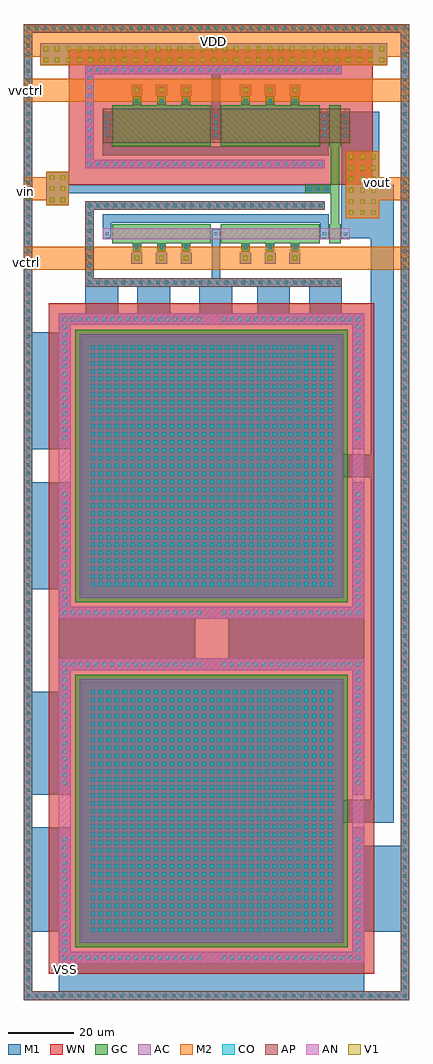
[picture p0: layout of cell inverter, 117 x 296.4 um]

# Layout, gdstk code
from math import pi, radians
import gdstk
lib = gdstk.Library(unit=1e-6, precision=1e-07)
def R(c, l, rs):  # rectangles x0, y0, x1, y1
    for r in rs: c.add(gdstk.rectangle(r[:2], r[2:], *l))
def A(c, l, x, y, w, h, nx, ny, dx, dy):  # array of equal rectangles
    R(c, l, [(x+i*dx, y+j*dy, x+i*dx+w, y+j*dy+h) for i in range(nx) for j in range(ny)])
def P(c, l, *ps):  # polygons
    for p in ps: c.add(gdstk.Polygon(p, *l))
AP = (3, 1)
AN = (3, 2)
AC = (3, 4)
GC = (8, 1)
CO = (11, 0)
M1 = (13, 0)
V1 = (19, 0)
M2 = (20, 0)
WN = (140, 0)

moscap = lib.new_cell('moscap')
P(moscap, AN, [(-46.4,-46.4),(-46.4,42.8),(-42.8,42.8),(-42.8,-42.8),(42.8,-42.8),(42.8,42.8),(-46.4,42.8),(-46.4,46.4),(46.4,46.4),(46.4,-46.4)])
R(moscap, AC, [(-40,-40,40,40)])
R(moscap, GC, [(-41.4,-41.4,41.4,41.4)])
A(moscap, CO, -45.2, -45.2, 1.2, 1.2, 1, 18, 0, 2.4)
A(moscap, CO, -45.2, -45.2, 1.2, 1.2, 16, 2, 2.4, 89.2)
A(moscap, CO, 8, -45.2, 1.2, 1.2, 16, 2, 2.4, 89.2)
A(moscap, CO, 44, -45.2, 1.2, 1.2, 1, 18, 0, 2.4)
A(moscap, CO, -36.6, -36.6, 1.2, 1.2, 31, 31, 2.4, 2.4)
A(moscap, CO, -45.2, 3.2, 1.2, 1.2, 1, 18, 0, 2.4)
A(moscap, CO, 44, 3.2, 1.2, 1.2, 1, 18, 0, 2.4)
R(moscap, M1, [(-39.3,-39.3,39.3,39.3)])
P(moscap, M1, [(-46.4,-46.4),(-46.4,46.4),(-5,46.4),(-5,42.8),(-42.8,42.8),(-42.8,-42.8),(-5,-42.8),(-5,-46.4)],
  [(5,-46.4),(5,-42.8),(42.8,-42.8),(42.8,42.8),(5,42.8),(5,46.4),(46.4,46.4),(46.4,-46.4)])
R(moscap, WN, [(-49.4,-49.4,49.4,49.4)])

fet_n_3 = lib.new_cell('fet_n$3')
R(fet_n_3, AN, [(-34.3,-1.7,34.3,1.7)])
A(fet_n_3, CO, -33.5, -0.5, 1, 1, 3, 1, 33, 0)
A(fet_n_3, M1, -34.3, -1.3, 2.6, 2.6, 3, 1, 33, 0)
fet_n_3.add(gdstk.FlexPath([(16.5,-2.9),(16.5,2.9)], 30, ends="flush", simple_path=True, layer=8, datatype=1))  # GC
fet_n_3.add(gdstk.FlexPath([(-16.5,-2.9),(-16.5,2.9)], 30, ends="flush", simple_path=True, layer=8, datatype=1))  # GC

fet_p_2 = lib.new_cell('fet_p$2')
R(fet_p_2, AP, [(-34.3,-5.1,34.3,5.1)])
A(fet_p_2, CO, -33.5, -3.5, 1, 1, 3, 4, 33, 2)
A(fet_p_2, M1, -34.3, -4.3, 2.6, 8.6, 3, 1, 33, 0)
fet_p_2.add(gdstk.FlexPath([(16.5,-6.3),(16.5,6.3)], 30, ends="flush", simple_path=True, layer=8, datatype=1))  # GC
fet_p_2.add(gdstk.FlexPath([(-16.5,-6.3),(-16.5,6.3)], 30, ends="flush", simple_path=True, layer=8, datatype=1))  # GC

cont_n = lib.new_cell('cont_n')
R(cont_n, AN, [(-1.3,-1.3,1.3,1.3)])
R(cont_n, CO, [(-0.5,-0.5,0.5,0.5)])
R(cont_n, M1, [(-1.3,-1.3,1.3,1.3)])

cont_p = lib.new_cell('cont_p')
R(cont_p, AP, [(-1.3,-1.3,1.3,1.3)])
R(cont_p, CO, [(-0.5,-0.5,0.5,0.5)])
R(cont_p, M1, [(-1.3,-1.3,1.3,1.3)])

via_1 = lib.new_cell('via_1')
R(via_1, M1, [(-1.7,-1.7,1.7,1.7)])
R(via_1, V1, [(-0.7,-0.7,0.7,0.7)])
R(via_1, M2, [(-1.7,-1.7,1.7,1.7)])

cont_g = lib.new_cell('cont_g')
R(cont_g, GC, [(-1.3,-1.3,1.3,1.3)])
R(cont_g, CO, [(-0.5,-0.5,0.5,0.5)])
R(cont_g, M1, [(-1.3,-1.3,1.3,1.3)])

fet_p = lib.new_cell('fet_p')
R(fet_p, AP, [(-4.5,-5.1,4.5,5.1)])
A(fet_p, CO, -3.7, -3.5, 1, 1, 1, 4, 0, 2)
A(fet_p, CO, 2.7, -3.5, 1, 1, 1, 4, 0, 2)
R(fet_p, M1, [(-4.5,-4.3,-1.9,4.3), (1.9,-4.3,4.5,4.3)])
fet_p.add(gdstk.FlexPath([(0,-6.3),(0,6.3)], 3.4, ends="flush", simple_path=True, layer=8, datatype=1))  # GC

fet_n = lib.new_cell('fet_n')
R(fet_n, AN, [(-4.5,-1.7,4.5,1.7)])
R(fet_n, CO, [(-3.7,-0.5,-2.7,0.5), (2.7,-0.5,3.7,0.5)])
R(fet_n, M1, [(-4.5,-1.3,-1.9,1.3), (1.9,-1.3,4.5,1.3)])
fet_n.add(gdstk.FlexPath([(0,-2.9),(0,2.9)], 3.4, ends="flush", simple_path=True, layer=8, datatype=1))  # GC

inverter = lib.new_cell('inverter')
R(inverter, M1, [(-87.1,-89.2,5.7,-83.8), (-87.1,-83.8,5.7,-80.8), (-95.1,-71,-87.1,-39.4), (5.7,-71,16.7,-45), (-95.1,-29.4,-87.1,1.8), (-87.1,12,-45.7,24), (-35.7,12,5.7,24), (-95.1,33,-87.1,65.4), (-95.1,75.4,-87.1,111)])
R(inverter, WN, [(-90.1,15,8.7,21), (-84.1,155.8,8.3,197)])
inverter.add(gdstk.FlexPath([(-3.2,167.4),(-3.2,143.8)], 2.6, ends="flush", simple_path=True, layer=8, datatype=1))  # GC
inverter.add(gdstk.FlexPath([(-63.4,182.6),(-63.4,182.8)], 2.6, ends="flush", simple_path=True, layer=13, datatype=0))  # M1
inverter.add(gdstk.FlexPath([(-55.9,182.6),(-55.9,182.8)], 2.6, ends="flush", simple_path=True, layer=13, datatype=0))  # M1
inverter.add(gdstk.FlexPath([(-48.4,182.6),(-48.4,182.8)], 2.6, ends="flush", simple_path=True, layer=13, datatype=0))  # M1
inverter.add(gdstk.FlexPath([(-30.4,182.6),(-30.4,182.8)], 2.6, ends="flush", simple_path=True, layer=13, datatype=0))  # M1
inverter.add(gdstk.FlexPath([(-22.9,182.6),(-22.9,182.8)], 2.6, ends="flush", simple_path=True, layer=13, datatype=0))  # M1
inverter.add(gdstk.FlexPath([(-15.4,182.6),(-15.4,182.8)], 2.6, ends="flush", simple_path=True, layer=13, datatype=0))  # M1
inverter.add(gdstk.FlexPath([(-6.4,164.8),(-6.4,169.4)], 2.6, ends="flush", simple_path=True, layer=13, datatype=0))  # M1
inverter.add(gdstk.FlexPath([(-72.4,164.8),(-72.4,169.4)], 2.6, ends="flush", simple_path=True, layer=13, datatype=0))  # M1
inverter.add(gdstk.FlexPath([(-39.4,178),(-39.4,198)], 2.6, ends="flush", simple_path=True, layer=13, datatype=0))  # M1
inverter.add(gdstk.FlexPath([(-88.9,154.5),(-4.5,154.5)], 2.6, ends="flush", simple_path=True, layer=13, datatype=0))  # M1
inverter.add(gdstk.FlexPath([(-72.4,142.2),(-72.4,146.8)], 2.6, ends="flush", simple_path=True, layer=13, datatype=0))  # M1
inverter.add(gdstk.FlexPath([(-6.4,142.2),(-6.4,146.8)], 2.6, ends="flush", simple_path=True, layer=13, datatype=0))  # M1
inverter.add(gdstk.FlexPath([(-72.4,145.5),(-6.4,145.5)], 2.6, ends="flush", simple_path=True, layer=13, datatype=0))  # M1
inverter.add(gdstk.FlexPath([(-72.4,166.1),(-6.4,166.1)], 2.6, ends="flush", simple_path=True, layer=13, datatype=0))  # M1
inverter.add(gdstk.FlexPath([(-39.4,125.2),(-39.4,139.6)], 2.6, ends="flush", simple_path=True, layer=13, datatype=0))  # M1
inverter.add(gdstk.FlexPath([(0,169.4),(0,142.2)], 2.6, ends="flush", simple_path=True, layer=13, datatype=0))  # M1
inverter.add(gdstk.FlexPath([(0,154.5),(8.3,154.5)], 2.6, ends="flush", simple_path=True, layer=13, datatype=0))  # M1
inverter.add(gdstk.FlexPath([(-74.1,125.7),(-74.1,114.5)], 10, ends="flush", simple_path=True, layer=13, datatype=0))  # M1
inverter.add(gdstk.FlexPath([(-6.1,126.4),(-6.1,114.6)], 10, ends="flush", simple_path=True, layer=13, datatype=0))  # M1
inverter.add(gdstk.FlexPath([(-63.4,135.2),(-63.4,135.4)], 2.6, ends="flush", simple_path=True, layer=13, datatype=0))  # M1
inverter.add(gdstk.FlexPath([(-55.9,135.2),(-55.9,135.4)], 2.6, ends="flush", simple_path=True, layer=13, datatype=0))  # M1
inverter.add(gdstk.FlexPath([(-48.4,135.2),(-48.4,135.4)], 2.6, ends="flush", simple_path=True, layer=13, datatype=0))  # M1
inverter.add(gdstk.FlexPath([(-30.4,135.2),(-30.4,135.4)], 2.6, ends="flush", simple_path=True, layer=13, datatype=0))  # M1
inverter.add(gdstk.FlexPath([(-22.9,135.2),(-22.9,135.4)], 2.6, ends="flush", simple_path=True, layer=13, datatype=0))  # M1
inverter.add(gdstk.FlexPath([(-15.4,135.2),(-15.4,135.4)], 2.6, ends="flush", simple_path=True, layer=13, datatype=0))  # M1
inverter.add(gdstk.FlexPath([(-80,70.5),(12.1,70.5)], 7, ends="flush", simple_path=True, layer=13, datatype=0))  # M1
inverter.add(gdstk.FlexPath([(-80,-34.5),(12.9,-34.5)], 7, ends="flush", simple_path=True, layer=13, datatype=0))  # M1
inverter.add(gdstk.FlexPath([(-39.4,125.4),(-39.4,114.8)], 10, ends="flush", simple_path=True, layer=13, datatype=0))  # M1
inverter.add(gdstk.FlexPath([(-58.3,125.2),(-58.3,115.1)], 10, ends="flush", simple_path=True, layer=13, datatype=0))  # M1
inverter.add(gdstk.FlexPath([(-21.9,125),(-21.9,115.2)], 10, ends="flush", simple_path=True, layer=13, datatype=0))  # M1
inverter.add(gdstk.FlexPath([(11.2,-38),(11.2,155.8)], 7, ends="flush", simple_path=True, layer=13, datatype=0))  # M1
inverter.add(gdstk.FlexPath([(5.2,139.6),(5.2,178)], 10, ends="flush", simple_path=True, layer=13, datatype=0))  # M1
inverter.add(gdstk.FlexPath([(19.3,184.5),(-97.7,184.5)], 7, ends="flush", simple_path=True, layer=20, datatype=0))  # M2
inverter.add(gdstk.FlexPath([(-87.5,154.5),(-97.7,154.5)], 7, ends="flush", simple_path=True, layer=20, datatype=0))  # M2
inverter.add(gdstk.FlexPath([(19.3,133.5),(-97.7,133.5)], 7, ends="flush", simple_path=True, layer=20, datatype=0))  # M2
inverter.add(gdstk.FlexPath([(6.9,154.5),(19.3,154.5)], 7, ends="flush", simple_path=True, layer=20, datatype=0))  # M2
inverter.add(gdstk.FlexPath([(-97.7,199.6),(19.3,199.6)], 10, ends="flush", simple_path=True, layer=20, datatype=0))  # M2
inverter.add(gdstk.Reference(moscap, (-40.7,70.4), rotation=pi/2))
inverter.add(gdstk.Reference(fet_n_3, (-39.4,140.9)))
inverter.add(gdstk.Reference(moscap, (-40.7,-34.4), rotation=pi/2))
inverter.add(gdstk.Reference(fet_p_2, (-39.4,173.7)))
inverter.add(gdstk.Reference(cont_n, (-38.8,162.1)))
inverter.add(gdstk.Reference(cont_n, (-38.8,190.7)))
inverter.add(gdstk.Reference(cont_p, (-38.8,149.5)))
inverter.add(gdstk.Reference(cont_p, (-38.8,126.1)))
inverter.add(gdstk.Reference(cont_p, (-39.2,203.3)))
inverter.add(gdstk.Reference(cont_p, (-39.2,-90.5)))
inverter.add(gdstk.Reference(via_1, (-40,193.7)))
inverter.add(gdstk.Reference(via_1, (-40,197.1)))
inverter.add(gdstk.Reference(cont_n, (-10.2,162.1)))
inverter.add(gdstk.Reference(cont_n, (-10.2,190.7)))
inverter.add(gdstk.Reference(cont_p, (-10.2,149.5)))
inverter.add(gdstk.Reference(cont_p, (-10.2,126.1)))
inverter.add(gdstk.Reference(cont_p, (-10.6,203.3)))
inverter.add(gdstk.Reference(cont_p, (18,130.5)))
inverter.add(gdstk.Reference(via_1, (-9.4,193.7)))
inverter.add(gdstk.Reference(via_1, (-9.4,197.1)))
inverter.add(gdstk.Reference(cont_g, (-11,154.5)))
inverter.add(gdstk.Reference(cont_g, (-8.4,154.5)))
inverter.add(gdstk.Reference(fet_p, (-3.2,173.7)))
inverter.add(gdstk.Reference(cont_p, (-7.6,149.5)))
inverter.add(gdstk.Reference(cont_n, (-7.6,162.1)))
inverter.add(gdstk.Reference(via_1, (1.7,157.5)))
inverter.add(gdstk.Reference(via_1, (5.1,157.5)))
inverter.add(gdstk.Reference(via_1, (8.5,157.5)))
inverter.add(gdstk.Reference(via_1, (1.7,160.9)))
inverter.add(gdstk.Reference(via_1, (5.1,160.9)))
inverter.add(gdstk.Reference(via_1, (8.5,160.9)))
inverter.add(gdstk.Reference(via_1, (1.7,164.3)))
inverter.add(gdstk.Reference(via_1, (5.1,164.3)))
inverter.add(gdstk.Reference(via_1, (8.5,164.3)))
inverter.add(gdstk.Reference(via_1, (1.7,147.3)))
inverter.add(gdstk.Reference(via_1, (5.1,147.3)))
inverter.add(gdstk.Reference(via_1, (8.5,147.3)))
inverter.add(gdstk.Reference(via_1, (1.7,150.7)))
inverter.add(gdstk.Reference(via_1, (5.1,150.7)))
inverter.add(gdstk.Reference(via_1, (8.5,150.7)))
inverter.add(gdstk.Reference(via_1, (1.7,154.1)))
inverter.add(gdstk.Reference(via_1, (5.1,154.1)))
inverter.add(gdstk.Reference(via_1, (8.5,154.1)))
inverter.add(gdstk.Reference(cont_g, (-5.8,154.5)))
inverter.add(gdstk.Reference(cont_p, (-8,203.3)))
inverter.add(gdstk.Reference(cont_p, (-5.4,203.3)))
inverter.add(gdstk.Reference(cont_p, (-2.8,203.3)))
inverter.add(gdstk.Reference(cont_p, (-0.2,203.3)))
inverter.add(gdstk.Reference(cont_p, (2.4,203.3)))
inverter.add(gdstk.Reference(cont_p, (5,203.3)))
inverter.add(gdstk.Reference(cont_p, (7.6,203.3)))
inverter.add(gdstk.Reference(cont_p, (10.2,203.3)))
inverter.add(gdstk.Reference(cont_p, (12.8,203.3)))
inverter.add(gdstk.Reference(cont_p, (15.4,203.3)))
inverter.add(gdstk.Reference(cont_p, (18,203.3)))
inverter.add(gdstk.Reference(cont_p, (18,200.7)))
inverter.add(gdstk.Reference(cont_p, (18,198.1)))
inverter.add(gdstk.Reference(cont_p, (18,195.5)))
inverter.add(gdstk.Reference(cont_p, (18,192.9)))
inverter.add(gdstk.Reference(cont_p, (18,190.3)))
inverter.add(gdstk.Reference(cont_p, (18,187.7)))
inverter.add(gdstk.Reference(cont_p, (18,185.1)))
inverter.add(gdstk.Reference(cont_p, (18,182.5)))
inverter.add(gdstk.Reference(cont_p, (18,179.9)))
inverter.add(gdstk.Reference(cont_p, (18,177.3)))
inverter.add(gdstk.Reference(cont_p, (18,174.7)))
inverter.add(gdstk.Reference(cont_p, (18,172.1)))
inverter.add(gdstk.Reference(cont_p, (18,169.5)))
inverter.add(gdstk.Reference(cont_p, (18,166.9)))
inverter.add(gdstk.Reference(cont_p, (18,164.3)))
inverter.add(gdstk.Reference(cont_p, (18,161.7)))
inverter.add(gdstk.Reference(cont_p, (18,159.1)))
inverter.add(gdstk.Reference(cont_p, (18,156.5)))
inverter.add(gdstk.Reference(cont_p, (18,153.9)))
inverter.add(gdstk.Reference(cont_p, (18,151.3)))
inverter.add(gdstk.Reference(cont_p, (18,148.7)))
inverter.add(gdstk.Reference(cont_p, (18,146.1)))
inverter.add(gdstk.Reference(cont_p, (18,143.5)))
inverter.add(gdstk.Reference(cont_p, (18,140.9)))
inverter.add(gdstk.Reference(cont_p, (18,138.3)))
inverter.add(gdstk.Reference(cont_p, (18,135.7)))
inverter.add(gdstk.Reference(cont_p, (18,133.1)))
inverter.add(gdstk.Reference(fet_n, (-3.2,140.9)))
inverter.add(gdstk.Reference(cont_n, (-7.6,190.7)))
inverter.add(gdstk.Reference(via_1, (-6,193.7)))
inverter.add(gdstk.Reference(via_1, (-2.6,193.7)))
inverter.add(gdstk.Reference(via_1, (0.8,193.7)))
inverter.add(gdstk.Reference(via_1, (4.2,193.7)))
inverter.add(gdstk.Reference(via_1, (7.6,193.7)))
inverter.add(gdstk.Reference(via_1, (11,193.7)))
inverter.add(gdstk.Reference(cont_n, (-5,190.7)))
inverter.add(gdstk.Reference(via_1, (-6,197.1)))
inverter.add(gdstk.Reference(via_1, (-2.6,197.1)))
inverter.add(gdstk.Reference(via_1, (0.8,197.1)))
inverter.add(gdstk.Reference(via_1, (4.2,197.1)))
inverter.add(gdstk.Reference(via_1, (7.6,197.1)))
inverter.add(gdstk.Reference(via_1, (11,197.1)))
inverter.add(gdstk.Reference(cont_n, (-2.4,190.7)))
inverter.add(gdstk.Reference(cont_p, (-36.2,149.5)))
inverter.add(gdstk.Reference(cont_p, (-33.6,149.5)))
inverter.add(gdstk.Reference(cont_p, (-31,149.5)))
inverter.add(gdstk.Reference(cont_p, (-28.4,149.5)))
inverter.add(gdstk.Reference(cont_p, (-25.8,149.5)))
inverter.add(gdstk.Reference(cont_p, (-23.2,149.5)))
inverter.add(gdstk.Reference(via_1, (-30.4,184.5)))
inverter.add(gdstk.Reference(cont_p, (-20.6,149.5)))
inverter.add(gdstk.Reference(cont_p, (-18,149.5)))
inverter.add(gdstk.Reference(cont_p, (-15.4,149.5)))
inverter.add(gdstk.Reference(cont_p, (-12.8,149.5)))
inverter.add(gdstk.Reference(cont_n, (-18,162.1)))
inverter.add(gdstk.Reference(cont_n, (-15.4,162.1)))
inverter.add(gdstk.Reference(via_1, (-22.9,184.5)))
inverter.add(gdstk.Reference(cont_n, (-12.8,162.1)))
inverter.add(gdstk.Reference(cont_g, (-15.4,181.3)))
inverter.add(gdstk.Reference(cont_n, (-36.2,162.1)))
inverter.add(gdstk.Reference(cont_n, (-33.6,162.1)))
inverter.add(gdstk.Reference(cont_n, (-36.2,190.7)))
inverter.add(gdstk.Reference(cont_n, (-33.6,190.7)))
inverter.add(gdstk.Reference(cont_n, (-31,190.7)))
inverter.add(gdstk.Reference(cont_n, (-28.4,190.7)))
inverter.add(gdstk.Reference(cont_n, (-25.8,190.7)))
inverter.add(gdstk.Reference(cont_n, (-23.2,190.7)))
inverter.add(gdstk.Reference(cont_n, (-20.6,190.7)))
inverter.add(gdstk.Reference(cont_n, (-18,190.7)))
inverter.add(gdstk.Reference(cont_n, (-15.4,190.7)))
inverter.add(gdstk.Reference(cont_n, (-12.8,190.7)))
inverter.add(gdstk.Reference(cont_n, (-31,162.1)))
inverter.add(gdstk.Reference(cont_n, (-28.4,162.1)))
inverter.add(gdstk.Reference(cont_n, (-25.8,162.1)))
inverter.add(gdstk.Reference(cont_n, (-23.2,162.1)))
inverter.add(gdstk.Reference(via_1, (-22.9,133.5)))
inverter.add(gdstk.Reference(via_1, (-15.4,184.5)))
inverter.add(gdstk.Reference(cont_p, (-36.6,203.3)))
inverter.add(gdstk.Reference(cont_g, (-30.4,181.3)))
inverter.add(gdstk.Reference(via_1, (-36.6,193.7)))
inverter.add(gdstk.Reference(via_1, (-33.2,193.7)))
inverter.add(gdstk.Reference(via_1, (-29.8,193.7)))
inverter.add(gdstk.Reference(via_1, (-26.4,193.7)))
inverter.add(gdstk.Reference(via_1, (-23,193.7)))
inverter.add(gdstk.Reference(via_1, (-19.6,193.7)))
inverter.add(gdstk.Reference(via_1, (-16.2,193.7)))
inverter.add(gdstk.Reference(via_1, (-12.8,193.7)))
inverter.add(gdstk.Reference(cont_p, (-34,203.3)))
inverter.add(gdstk.Reference(cont_p, (-31.4,203.3)))
inverter.add(gdstk.Reference(cont_p, (-28.8,203.3)))
inverter.add(gdstk.Reference(cont_p, (-26.2,203.3)))
inverter.add(gdstk.Reference(cont_p, (-23.6,203.3)))
inverter.add(gdstk.Reference(cont_p, (-21,203.3)))
inverter.add(gdstk.Reference(cont_p, (-18.4,203.3)))
inverter.add(gdstk.Reference(cont_g, (-22.9,181.3)))
inverter.add(gdstk.Reference(via_1, (-36.6,197.1)))
inverter.add(gdstk.Reference(via_1, (-33.2,197.1)))
inverter.add(gdstk.Reference(via_1, (-29.8,197.1)))
inverter.add(gdstk.Reference(via_1, (-26.4,197.1)))
inverter.add(gdstk.Reference(via_1, (-23,197.1)))
inverter.add(gdstk.Reference(via_1, (-19.6,197.1)))
inverter.add(gdstk.Reference(via_1, (-16.2,197.1)))
inverter.add(gdstk.Reference(via_1, (-12.8,197.1)))
inverter.add(gdstk.Reference(cont_p, (-15.8,203.3)))
inverter.add(gdstk.Reference(cont_p, (-13.2,203.3)))
inverter.add(gdstk.Reference(via_1, (-15.4,133.5)))
inverter.add(gdstk.Reference(cont_g, (-30.4,136.7)))
inverter.add(gdstk.Reference(cont_g, (-22.9,136.7)))
inverter.add(gdstk.Reference(cont_g, (-15.4,136.7)))
inverter.add(gdstk.Reference(via_1, (-30.4,133.5)))
inverter.add(gdstk.Reference(cont_n, (-20.6,162.1)))
inverter.add(gdstk.Reference(cont_p, (-25.8,126.1)))
inverter.add(gdstk.Reference(cont_p, (-23.2,126.1)))
inverter.add(gdstk.Reference(cont_p, (-20.6,126.1)))
inverter.add(gdstk.Reference(cont_p, (-18,126.1)))
inverter.add(gdstk.Reference(cont_p, (-15.4,126.1)))
inverter.add(gdstk.Reference(cont_p, (-12.8,126.1)))
inverter.add(gdstk.Reference(cont_p, (-36.2,126.1)))
inverter.add(gdstk.Reference(cont_p, (-33.6,126.1)))
inverter.add(gdstk.Reference(cont_p, (-31,126.1)))
inverter.add(gdstk.Reference(cont_p, (-28.4,126.1)))
inverter.add(gdstk.Reference(cont_p, (-2.4,126.1)))
inverter.add(gdstk.Reference(cont_p, (18,112.3)))
inverter.add(gdstk.Reference(cont_p, (18,127.9)))
inverter.add(gdstk.Reference(cont_p, (18,125.3)))
inverter.add(gdstk.Reference(cont_p, (18,122.7)))
inverter.add(gdstk.Reference(cont_p, (18,120.1)))
inverter.add(gdstk.Reference(cont_p, (18,117.5)))
inverter.add(gdstk.Reference(cont_p, (18,114.9)))
inverter.add(gdstk.Reference(cont_p, (18,109.7)))
inverter.add(gdstk.Reference(cont_p, (18,107.1)))
inverter.add(gdstk.Reference(cont_p, (18,104.5)))
inverter.add(gdstk.Reference(cont_p, (18,101.9)))
inverter.add(gdstk.Reference(cont_p, (18,99.3)))
inverter.add(gdstk.Reference(cont_p, (18,96.7)))
inverter.add(gdstk.Reference(cont_p, (18,94.1)))
inverter.add(gdstk.Reference(cont_p, (18,91.5)))
inverter.add(gdstk.Reference(cont_p, (18,88.9)))
inverter.add(gdstk.Reference(cont_p, (18,86.3)))
inverter.add(gdstk.Reference(cont_p, (18,83.7)))
inverter.add(gdstk.Reference(cont_p, (18,81.1)))
inverter.add(gdstk.Reference(cont_p, (18,78.5)))
inverter.add(gdstk.Reference(cont_p, (18,75.9)))
inverter.add(gdstk.Reference(cont_p, (18,73.3)))
inverter.add(gdstk.Reference(cont_p, (18,70.7)))
inverter.add(gdstk.Reference(cont_p, (18,68.1)))
inverter.add(gdstk.Reference(cont_p, (18,65.5)))
inverter.add(gdstk.Reference(cont_p, (18,62.9)))
inverter.add(gdstk.Reference(cont_p, (18,60.3)))
inverter.add(gdstk.Reference(cont_p, (18,57.7)))
inverter.add(gdstk.Reference(cont_p, (-7.6,126.1)))
inverter.add(gdstk.Reference(cont_p, (-5,126.1)))
inverter.add(gdstk.Reference(cont_n, (-67.4,162.1)))
inverter.add(gdstk.Reference(cont_p, (-67.4,149.5)))
inverter.add(gdstk.Reference(cont_p, (-96.4,130.5)))
inverter.add(gdstk.Reference(cont_p, (-77.8,131.3)))
inverter.add(gdstk.Reference(cont_p, (-67.4,126.1)))
inverter.add(gdstk.Reference(cont_n, (-67.4,190.7)))
inverter.add(gdstk.Reference(via_1, (-67.2,193.7)))
inverter.add(gdstk.Reference(via_1, (-67.2,197.1)))
inverter.add(gdstk.Reference(cont_p, (-67.8,203.3)))
inverter.add(gdstk.Reference(cont_g, (-55.9,136.7)))
inverter.add(gdstk.Reference(cont_g, (-48.4,136.7)))
inverter.add(gdstk.Reference(via_1, (-63.4,133.5)))
inverter.add(gdstk.Reference(via_1, (-63.4,184.5)))
inverter.add(gdstk.Reference(cont_p, (-57.4,203.3)))
inverter.add(gdstk.Reference(cont_p, (-54.8,203.3)))
inverter.add(gdstk.Reference(cont_p, (-64.8,149.5)))
inverter.add(gdstk.Reference(cont_p, (-62.2,149.5)))
inverter.add(gdstk.Reference(cont_p, (-59.6,149.5)))
inverter.add(gdstk.Reference(cont_p, (-57,149.5)))
inverter.add(gdstk.Reference(cont_p, (-54.4,149.5)))
inverter.add(gdstk.Reference(cont_p, (-51.8,149.5)))
inverter.add(gdstk.Reference(cont_p, (-49.2,149.5)))
inverter.add(gdstk.Reference(cont_p, (-46.6,149.5)))
inverter.add(gdstk.Reference(cont_p, (-52.2,203.3)))
inverter.add(gdstk.Reference(cont_p, (-44,149.5)))
inverter.add(gdstk.Reference(cont_p, (-41.4,149.5)))
inverter.add(gdstk.Reference(cont_n, (-64.8,162.1)))
inverter.add(gdstk.Reference(cont_p, (-49.6,203.3)))
inverter.add(gdstk.Reference(cont_p, (-47,203.3)))
inverter.add(gdstk.Reference(cont_p, (-44.4,203.3)))
inverter.add(gdstk.Reference(cont_n, (-64.8,190.7)))
inverter.add(gdstk.Reference(cont_n, (-62.2,190.7)))
inverter.add(gdstk.Reference(cont_n, (-59.6,190.7)))
inverter.add(gdstk.Reference(cont_n, (-57,190.7)))
inverter.add(gdstk.Reference(cont_n, (-54.4,190.7)))
inverter.add(gdstk.Reference(cont_n, (-51.8,190.7)))
inverter.add(gdstk.Reference(cont_n, (-49.2,190.7)))
inverter.add(gdstk.Reference(cont_n, (-46.6,190.7)))
inverter.add(gdstk.Reference(cont_n, (-44,190.7)))
inverter.add(gdstk.Reference(cont_n, (-41.4,190.7)))
inverter.add(gdstk.Reference(cont_n, (-62.2,162.1)))
inverter.add(gdstk.Reference(cont_n, (-59.6,162.1)))
inverter.add(gdstk.Reference(cont_n, (-57,162.1)))
inverter.add(gdstk.Reference(cont_n, (-54.4,162.1)))
inverter.add(gdstk.Reference(cont_p, (-41.8,203.3)))
inverter.add(gdstk.Reference(via_1, (-63.8,193.7)))
inverter.add(gdstk.Reference(via_1, (-60.4,193.7)))
inverter.add(gdstk.Reference(via_1, (-57,193.7)))
inverter.add(gdstk.Reference(via_1, (-53.6,193.7)))
inverter.add(gdstk.Reference(via_1, (-50.2,193.7)))
inverter.add(gdstk.Reference(via_1, (-46.8,193.7)))
inverter.add(gdstk.Reference(via_1, (-43.4,193.7)))
inverter.add(gdstk.Reference(cont_n, (-51.8,162.1)))
inverter.add(gdstk.Reference(cont_n, (-49.2,162.1)))
inverter.add(gdstk.Reference(cont_n, (-46.6,162.1)))
inverter.add(gdstk.Reference(cont_n, (-44,162.1)))
inverter.add(gdstk.Reference(cont_n, (-41.4,162.1)))
inverter.add(gdstk.Reference(cont_g, (-55.9,181.3)))
inverter.add(gdstk.Reference(cont_g, (-48.4,181.3)))
inverter.add(gdstk.Reference(via_1, (-55.9,184.5)))
inverter.add(gdstk.Reference(via_1, (-48.4,184.5)))
inverter.add(gdstk.Reference(cont_g, (-63.4,181.3)))
inverter.add(gdstk.Reference(via_1, (-55.9,133.5)))
inverter.add(gdstk.Reference(via_1, (-48.4,133.5)))
inverter.add(gdstk.Reference(via_1, (-63.8,197.1)))
inverter.add(gdstk.Reference(via_1, (-60.4,197.1)))
inverter.add(gdstk.Reference(via_1, (-57,197.1)))
inverter.add(gdstk.Reference(via_1, (-53.6,197.1)))
inverter.add(gdstk.Reference(via_1, (-50.2,197.1)))
inverter.add(gdstk.Reference(via_1, (-46.8,197.1)))
inverter.add(gdstk.Reference(via_1, (-43.4,197.1)))
inverter.add(gdstk.Reference(cont_g, (-63.4,136.7)))
inverter.add(gdstk.Reference(cont_p, (-65.2,203.3)))
inverter.add(gdstk.Reference(cont_p, (-62.6,203.3)))
inverter.add(gdstk.Reference(cont_p, (-60,203.3)))
inverter.add(gdstk.Reference(cont_p, (-77.8,146.9)))
inverter.add(gdstk.Reference(cont_p, (-77.8,144.3)))
inverter.add(gdstk.Reference(cont_p, (-77.8,141.7)))
inverter.add(gdstk.Reference(cont_p, (-77.8,139.1)))
inverter.add(gdstk.Reference(cont_p, (-77.8,136.5)))
inverter.add(gdstk.Reference(cont_p, (-77.8,133.9)))
inverter.add(gdstk.Reference(cont_p, (-70,149.5)))
inverter.add(gdstk.Reference(via_1, (-85.8,154.6)))
inverter.add(gdstk.Reference(via_1, (-74,193.7)))
inverter.add(gdstk.Reference(cont_n, (-72.6,190.7)))
inverter.add(gdstk.Reference(cont_n, (-70,190.7)))
inverter.add(gdstk.Reference(cont_n, (-72.6,162.1)))
inverter.add(gdstk.Reference(cont_p, (-96.4,200.7)))
inverter.add(gdstk.Reference(cont_p, (-96.4,198.1)))
inverter.add(gdstk.Reference(cont_p, (-96.4,195.5)))
inverter.add(gdstk.Reference(cont_p, (-96.4,192.9)))
inverter.add(gdstk.Reference(cont_p, (-96.4,190.3)))
inverter.add(gdstk.Reference(cont_p, (-96.4,187.7)))
inverter.add(gdstk.Reference(cont_p, (-96.4,185.1)))
inverter.add(gdstk.Reference(cont_p, (-96.4,182.5)))
inverter.add(gdstk.Reference(cont_p, (-96.4,179.9)))
inverter.add(gdstk.Reference(cont_p, (-96.4,177.3)))
inverter.add(gdstk.Reference(cont_p, (-96.4,174.7)))
inverter.add(gdstk.Reference(cont_p, (-96.4,172.1)))
inverter.add(gdstk.Reference(cont_p, (-96.4,169.5)))
inverter.add(gdstk.Reference(cont_p, (-96.4,166.9)))
inverter.add(gdstk.Reference(via_1, (-70.6,193.7)))
inverter.add(gdstk.Reference(cont_p, (-96.4,164.3)))
inverter.add(gdstk.Reference(cont_p, (-96.4,161.7)))
inverter.add(gdstk.Reference(cont_p, (-96.4,159.1)))
inverter.add(gdstk.Reference(cont_p, (-96.4,156.5)))
inverter.add(gdstk.Reference(cont_p, (-96.4,153.9)))
inverter.add(gdstk.Reference(cont_p, (-96.4,151.3)))
inverter.add(gdstk.Reference(cont_p, (-96.4,148.7)))
inverter.add(gdstk.Reference(cont_p, (-96.4,146.1)))
inverter.add(gdstk.Reference(cont_p, (-96.4,143.5)))
inverter.add(gdstk.Reference(cont_p, (-96.4,140.9)))
inverter.add(gdstk.Reference(cont_p, (-96.4,138.3)))
inverter.add(gdstk.Reference(cont_p, (-96.4,135.7)))
inverter.add(gdstk.Reference(cont_p, (-96.4,133.1)))
inverter.add(gdstk.Reference(cont_n, (-70,162.1)))
inverter.add(gdstk.Reference(via_1, (-77.4,193.7)))
inverter.add(gdstk.Reference(cont_n, (-75.2,162.1)))
inverter.add(gdstk.Reference(cont_n, (-77.8,162.1)))
inverter.add(gdstk.Reference(cont_p, (-75.2,149.5)))
inverter.add(gdstk.Reference(cont_p, (-72.6,149.5)))
inverter.add(gdstk.Reference(via_1, (-89.2,154.6)))
inverter.add(gdstk.Reference(cont_n, (-77.8,164.7)))
inverter.add(gdstk.Reference(via_1, (-85.8,158)))
inverter.add(gdstk.Reference(via_1, (-89.2,158)))
inverter.add(gdstk.Reference(via_1, (-80.8,193.7)))
inverter.add(gdstk.Reference(via_1, (-84.2,193.7)))
inverter.add(gdstk.Reference(via_1, (-87.6,193.7)))
inverter.add(gdstk.Reference(via_1, (-91,193.7)))
inverter.add(gdstk.Reference(via_1, (-89.2,151.2)))
inverter.add(gdstk.Reference(via_1, (-77.4,197.1)))
inverter.add(gdstk.Reference(via_1, (-74,197.1)))
inverter.add(gdstk.Reference(via_1, (-70.6,197.1)))
inverter.add(gdstk.Reference(cont_n, (-77.8,167.3)))
inverter.add(gdstk.Reference(cont_n, (-77.8,169.9)))
inverter.add(gdstk.Reference(cont_n, (-77.8,172.5)))
inverter.add(gdstk.Reference(cont_n, (-77.8,175.1)))
inverter.add(gdstk.Reference(cont_n, (-77.8,177.7)))
inverter.add(gdstk.Reference(cont_n, (-77.8,180.3)))
inverter.add(gdstk.Reference(cont_n, (-77.8,182.9)))
inverter.add(gdstk.Reference(cont_n, (-77.8,185.5)))
inverter.add(gdstk.Reference(cont_p, (-96.4,203.3)))
inverter.add(gdstk.Reference(via_1, (-85.8,151.2)))
inverter.add(gdstk.Reference(cont_p, (-93.8,203.3)))
inverter.add(gdstk.Reference(cont_p, (-91.2,203.3)))
inverter.add(gdstk.Reference(cont_p, (-88.6,203.3)))
inverter.add(gdstk.Reference(cont_p, (-86,203.3)))
inverter.add(gdstk.Reference(cont_p, (-83.4,203.3)))
inverter.add(gdstk.Reference(cont_p, (-80.8,203.3)))
inverter.add(gdstk.Reference(cont_p, (-78.2,203.3)))
inverter.add(gdstk.Reference(cont_p, (-75.6,203.3)))
inverter.add(gdstk.Reference(cont_p, (-73,203.3)))
inverter.add(gdstk.Reference(cont_p, (-70.4,203.3)))
inverter.add(gdstk.Reference(cont_n, (-77.8,188.1)))
inverter.add(gdstk.Reference(cont_n, (-77.8,190.7)))
inverter.add(gdstk.Reference(via_1, (-80.8,197.1)))
inverter.add(gdstk.Reference(via_1, (-84.2,197.1)))
inverter.add(gdstk.Reference(via_1, (-87.6,197.1)))
inverter.add(gdstk.Reference(via_1, (-91,197.1)))
inverter.add(gdstk.Reference(cont_n, (-75.2,190.7)))
inverter.add(gdstk.Reference(cont_p, (-77.8,149.5)))
inverter.add(gdstk.Reference(cont_p, (-96.4,96.7)))
inverter.add(gdstk.Reference(cont_p, (-96.4,94.1)))
inverter.add(gdstk.Reference(cont_p, (-96.4,91.5)))
inverter.add(gdstk.Reference(cont_p, (-96.4,88.9)))
inverter.add(gdstk.Reference(cont_p, (-96.4,86.3)))
inverter.add(gdstk.Reference(cont_p, (-96.4,83.7)))
inverter.add(gdstk.Reference(cont_p, (-96.4,81.1)))
inverter.add(gdstk.Reference(cont_p, (-96.4,78.5)))
inverter.add(gdstk.Reference(cont_p, (-96.4,75.9)))
inverter.add(gdstk.Reference(cont_p, (-96.4,73.3)))
inverter.add(gdstk.Reference(cont_p, (-96.4,70.7)))
inverter.add(gdstk.Reference(cont_p, (-96.4,68.1)))
inverter.add(gdstk.Reference(cont_p, (-77.8,128.7)))
inverter.add(gdstk.Reference(cont_p, (-96.4,112.3)))
inverter.add(gdstk.Reference(cont_p, (-77.8,126.1)))
inverter.add(gdstk.Reference(cont_p, (-75.2,126.1)))
inverter.add(gdstk.Reference(cont_p, (-72.6,126.1)))
inverter.add(gdstk.Reference(cont_p, (-70,126.1)))
inverter.add(gdstk.Reference(cont_p, (-96.4,65.5)))
inverter.add(gdstk.Reference(cont_p, (-96.4,62.9)))
inverter.add(gdstk.Reference(cont_p, (-96.4,60.3)))
inverter.add(gdstk.Reference(cont_p, (-96.4,57.7)))
inverter.add(gdstk.Reference(cont_p, (-96.4,125.3)))
inverter.add(gdstk.Reference(cont_p, (-96.4,122.7)))
inverter.add(gdstk.Reference(cont_p, (-96.4,120.1)))
inverter.add(gdstk.Reference(cont_p, (-96.4,117.5)))
inverter.add(gdstk.Reference(cont_p, (-96.4,114.9)))
inverter.add(gdstk.Reference(cont_p, (-96.4,127.9)))
inverter.add(gdstk.Reference(cont_p, (-96.4,109.7)))
inverter.add(gdstk.Reference(cont_p, (-96.4,107.1)))
inverter.add(gdstk.Reference(cont_p, (-96.4,104.5)))
inverter.add(gdstk.Reference(cont_p, (-96.4,101.9)))
inverter.add(gdstk.Reference(cont_p, (-96.4,99.3)))
inverter.add(gdstk.Reference(cont_p, (-44,126.1)))
inverter.add(gdstk.Reference(cont_p, (-41.4,126.1)))
inverter.add(gdstk.Reference(cont_p, (-62.2,126.1)))
inverter.add(gdstk.Reference(cont_p, (-59.6,126.1)))
inverter.add(gdstk.Reference(cont_p, (-57,126.1)))
inverter.add(gdstk.Reference(cont_p, (-54.4,126.1)))
inverter.add(gdstk.Reference(cont_p, (-51.8,126.1)))
inverter.add(gdstk.Reference(cont_p, (-64.8,126.1)))
inverter.add(gdstk.Reference(cont_p, (-49.2,126.1)))
inverter.add(gdstk.Reference(cont_p, (-46.6,126.1)))
inverter.add(gdstk.Reference(cont_p, (-96.4,-46.3)))
inverter.add(gdstk.Reference(cont_p, (-96.4,-48.9)))
inverter.add(gdstk.Reference(cont_p, (-96.4,-51.5)))
inverter.add(gdstk.Reference(cont_p, (-96.4,-54.1)))
inverter.add(gdstk.Reference(cont_p, (-96.4,-56.7)))
inverter.add(gdstk.Reference(cont_p, (-96.4,-59.3)))
inverter.add(gdstk.Reference(cont_p, (-96.4,-61.9)))
inverter.add(gdstk.Reference(cont_p, (-96.4,-64.5)))
inverter.add(gdstk.Reference(cont_p, (-96.4,-67.1)))
inverter.add(gdstk.Reference(cont_p, (-96.4,-69.7)))
inverter.add(gdstk.Reference(cont_p, (-96.4,-72.3)))
inverter.add(gdstk.Reference(cont_p, (-96.4,-74.9)))
inverter.add(gdstk.Reference(cont_p, (-96.4,-77.5)))
inverter.add(gdstk.Reference(cont_p, (-96.4,-80.1)))
inverter.add(gdstk.Reference(cont_p, (-96.4,-82.7)))
inverter.add(gdstk.Reference(cont_p, (-96.4,-85.3)))
inverter.add(gdstk.Reference(cont_p, (-96.4,-87.9)))
inverter.add(gdstk.Reference(cont_p, (-96.4,-90.5)))
inverter.add(gdstk.Reference(cont_p, (-91.2,-90.5)))
inverter.add(gdstk.Reference(cont_p, (-88.6,-90.5)))
inverter.add(gdstk.Reference(cont_p, (-86,-90.5)))
inverter.add(gdstk.Reference(cont_p, (-83.4,-90.5)))
inverter.add(gdstk.Reference(cont_p, (-80.8,-90.5)))
inverter.add(gdstk.Reference(cont_p, (-78.2,-90.5)))
inverter.add(gdstk.Reference(cont_p, (-75.6,-90.5)))
inverter.add(gdstk.Reference(cont_p, (-73,-90.5)))
inverter.add(gdstk.Reference(cont_p, (-70.4,-90.5)))
inverter.add(gdstk.Reference(cont_p, (-67.8,-90.5)))
inverter.add(gdstk.Reference(cont_p, (-65.2,-90.5)))
inverter.add(gdstk.Reference(cont_p, (-62.6,-90.5)))
inverter.add(gdstk.Reference(cont_p, (-60,-90.5)))
inverter.add(gdstk.Reference(cont_p, (-57.4,-90.5)))
inverter.add(gdstk.Reference(cont_p, (-54.8,-90.5)))
inverter.add(gdstk.Reference(cont_p, (-52.2,-90.5)))
inverter.add(gdstk.Reference(cont_p, (-49.6,-90.5)))
inverter.add(gdstk.Reference(cont_p, (-47,-90.5)))
inverter.add(gdstk.Reference(cont_p, (-44.4,-90.5)))
inverter.add(gdstk.Reference(cont_p, (-41.8,-90.5)))
inverter.add(gdstk.Reference(cont_p, (-93.8,-90.5)))
inverter.add(gdstk.Reference(cont_p, (-96.4,55.1)))
inverter.add(gdstk.Reference(cont_p, (-96.4,52.5)))
inverter.add(gdstk.Reference(cont_p, (-96.4,49.9)))
inverter.add(gdstk.Reference(cont_p, (-96.4,47.3)))
inverter.add(gdstk.Reference(cont_p, (-96.4,44.7)))
inverter.add(gdstk.Reference(cont_p, (-96.4,42.1)))
inverter.add(gdstk.Reference(cont_p, (-96.4,39.5)))
inverter.add(gdstk.Reference(cont_p, (-96.4,36.9)))
inverter.add(gdstk.Reference(cont_p, (-96.4,34.3)))
inverter.add(gdstk.Reference(cont_p, (-96.4,31.7)))
inverter.add(gdstk.Reference(cont_p, (-96.4,29.1)))
inverter.add(gdstk.Reference(cont_p, (-96.4,26.5)))
inverter.add(gdstk.Reference(cont_p, (-96.4,23.9)))
inverter.add(gdstk.Reference(cont_p, (-96.4,21.3)))
inverter.add(gdstk.Reference(cont_p, (-96.4,18.7)))
inverter.add(gdstk.Reference(cont_p, (-96.4,16.1)))
inverter.add(gdstk.Reference(cont_p, (-96.4,13.5)))
inverter.add(gdstk.Reference(cont_p, (-96.4,10.9)))
inverter.add(gdstk.Reference(cont_p, (-96.4,8.3)))
inverter.add(gdstk.Reference(cont_p, (-96.4,5.7)))
inverter.add(gdstk.Reference(cont_p, (-96.4,3.1)))
inverter.add(gdstk.Reference(cont_p, (-96.4,0.5)))
inverter.add(gdstk.Reference(cont_p, (-96.4,-2.1)))
inverter.add(gdstk.Reference(cont_p, (-96.4,-4.7)))
inverter.add(gdstk.Reference(cont_p, (-96.4,-7.3)))
inverter.add(gdstk.Reference(cont_p, (-96.4,-9.9)))
inverter.add(gdstk.Reference(cont_p, (-96.4,-12.5)))
inverter.add(gdstk.Reference(cont_p, (-96.4,-15.1)))
inverter.add(gdstk.Reference(cont_p, (-96.4,-17.7)))
inverter.add(gdstk.Reference(cont_p, (-96.4,-20.3)))
inverter.add(gdstk.Reference(cont_p, (-96.4,-22.9)))
inverter.add(gdstk.Reference(cont_p, (-96.4,-25.5)))
inverter.add(gdstk.Reference(cont_p, (-96.4,-28.1)))
inverter.add(gdstk.Reference(cont_p, (-96.4,-30.7)))
inverter.add(gdstk.Reference(cont_p, (-96.4,-33.3)))
inverter.add(gdstk.Reference(cont_p, (-96.4,-35.9)))
inverter.add(gdstk.Reference(cont_p, (-96.4,-38.5)))
inverter.add(gdstk.Reference(cont_p, (-96.4,-41.1)))
inverter.add(gdstk.Reference(cont_p, (-96.4,-43.7)))
inverter.add(gdstk.Reference(cont_p, (18,-46.3)))
inverter.add(gdstk.Reference(cont_p, (18,-48.9)))
inverter.add(gdstk.Reference(cont_p, (18,-51.5)))
inverter.add(gdstk.Reference(cont_p, (18,-54.1)))
inverter.add(gdstk.Reference(cont_p, (18,-56.7)))
inverter.add(gdstk.Reference(cont_p, (18,-59.3)))
inverter.add(gdstk.Reference(cont_p, (18,-61.9)))
inverter.add(gdstk.Reference(cont_p, (18,-64.5)))
inverter.add(gdstk.Reference(cont_p, (18,-67.1)))
inverter.add(gdstk.Reference(cont_p, (18,-69.7)))
inverter.add(gdstk.Reference(cont_p, (18,-72.3)))
inverter.add(gdstk.Reference(cont_p, (18,-74.9)))
inverter.add(gdstk.Reference(cont_p, (18,-77.5)))
inverter.add(gdstk.Reference(cont_p, (18,-80.1)))
inverter.add(gdstk.Reference(cont_p, (18,-82.7)))
inverter.add(gdstk.Reference(cont_p, (18,-85.3)))
inverter.add(gdstk.Reference(cont_p, (18,-87.9)))
inverter.add(gdstk.Reference(cont_p, (-5.4,-90.5)))
inverter.add(gdstk.Reference(cont_p, (-2.8,-90.5)))
inverter.add(gdstk.Reference(cont_p, (-0.2,-90.5)))
inverter.add(gdstk.Reference(cont_p, (2.4,-90.5)))
inverter.add(gdstk.Reference(cont_p, (5,-90.5)))
inverter.add(gdstk.Reference(cont_p, (7.6,-90.5)))
inverter.add(gdstk.Reference(cont_p, (10.2,-90.5)))
inverter.add(gdstk.Reference(cont_p, (12.8,-90.5)))
inverter.add(gdstk.Reference(cont_p, (15.4,-90.5)))
inverter.add(gdstk.Reference(cont_p, (18,-90.5)))
inverter.add(gdstk.Reference(cont_p, (-36.6,-90.5)))
inverter.add(gdstk.Reference(cont_p, (-34,-90.5)))
inverter.add(gdstk.Reference(cont_p, (-31.4,-90.5)))
inverter.add(gdstk.Reference(cont_p, (-28.8,-90.5)))
inverter.add(gdstk.Reference(cont_p, (-26.2,-90.5)))
inverter.add(gdstk.Reference(cont_p, (-23.6,-90.5)))
inverter.add(gdstk.Reference(cont_p, (-21,-90.5)))
inverter.add(gdstk.Reference(cont_p, (-18.4,-90.5)))
inverter.add(gdstk.Reference(cont_p, (-15.8,-90.5)))
inverter.add(gdstk.Reference(cont_p, (-13.2,-90.5)))
inverter.add(gdstk.Reference(cont_p, (-10.6,-90.5)))
inverter.add(gdstk.Reference(cont_p, (-8,-90.5)))
inverter.add(gdstk.Reference(cont_p, (18,55.1)))
inverter.add(gdstk.Reference(cont_p, (18,52.5)))
inverter.add(gdstk.Reference(cont_p, (18,49.9)))
inverter.add(gdstk.Reference(cont_p, (18,47.3)))
inverter.add(gdstk.Reference(cont_p, (18,44.7)))
inverter.add(gdstk.Reference(cont_p, (18,42.1)))
inverter.add(gdstk.Reference(cont_p, (18,39.5)))
inverter.add(gdstk.Reference(cont_p, (18,36.9)))
inverter.add(gdstk.Reference(cont_p, (18,34.3)))
inverter.add(gdstk.Reference(cont_p, (18,31.7)))
inverter.add(gdstk.Reference(cont_p, (18,29.1)))
inverter.add(gdstk.Reference(cont_p, (18,26.5)))
inverter.add(gdstk.Reference(cont_p, (18,23.9)))
inverter.add(gdstk.Reference(cont_p, (18,21.3)))
inverter.add(gdstk.Reference(cont_p, (18,18.7)))
inverter.add(gdstk.Reference(cont_p, (18,16.1)))
inverter.add(gdstk.Reference(cont_p, (18,13.5)))
inverter.add(gdstk.Reference(cont_p, (18,10.9)))
inverter.add(gdstk.Reference(cont_p, (18,8.3)))
inverter.add(gdstk.Reference(cont_p, (18,5.7)))
inverter.add(gdstk.Reference(cont_p, (18,3.1)))
inverter.add(gdstk.Reference(cont_p, (18,0.5)))
inverter.add(gdstk.Reference(cont_p, (18,-2.1)))
inverter.add(gdstk.Reference(cont_p, (18,-4.7)))
inverter.add(gdstk.Reference(cont_p, (18,-7.3)))
inverter.add(gdstk.Reference(cont_p, (18,-9.9)))
inverter.add(gdstk.Reference(cont_p, (18,-12.5)))
inverter.add(gdstk.Reference(cont_p, (18,-15.1)))
inverter.add(gdstk.Reference(cont_p, (18,-17.7)))
inverter.add(gdstk.Reference(cont_p, (18,-20.3)))
inverter.add(gdstk.Reference(cont_p, (18,-22.9)))
inverter.add(gdstk.Reference(cont_p, (18,-25.5)))
inverter.add(gdstk.Reference(cont_p, (18,-28.1)))
inverter.add(gdstk.Reference(cont_p, (18,-30.7)))
inverter.add(gdstk.Reference(cont_p, (18,-33.3)))
inverter.add(gdstk.Reference(cont_p, (18,-35.9)))
inverter.add(gdstk.Reference(cont_p, (18,-38.5)))
inverter.add(gdstk.Reference(cont_p, (18,-41.1)))
inverter.add(gdstk.Reference(cont_p, (18,-43.7)))
inverter.add(gdstk.Label('vvctrl', (-97.2,184.4), layer=49, texttype=0))
inverter.add(gdstk.Label('vout', (9.7,156.4), layer=49, texttype=0))
inverter.add(gdstk.Label('vin', (-97.2,153.6), layer=49, texttype=0))
inverter.add(gdstk.Label('vctrl', (-96.8,132.3), layer=49, texttype=0))
inverter.add(gdstk.Label('VDD', (-40,199.2), layer=49, texttype=0))
inverter.add(gdstk.Label('VSS', (-85,-82.6), layer=48, texttype=0))

lib.write_gds('inverter.gds')
